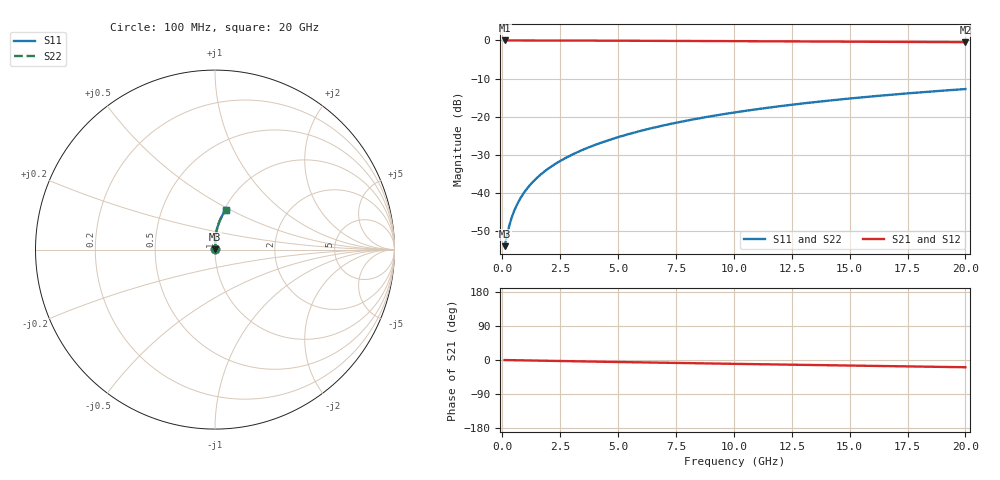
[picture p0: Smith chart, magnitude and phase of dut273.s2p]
! Touchstone file exported from HFSS 2024.1.0
!  File:  C:/UserFiles/LocalFiles/RDL_TSV_Batchsim/temp_RDL_top_273_1778689721.aedt
!  Generated:  12:31:01 AM May 14, 2026
!  Design:  RDL_top
!  Project:  temp_RDL_top_273_1778689721
!  Setup:  Setup1
!  Solution:  Sweep
! Variables:
!  dtsv = 10.80580581um
!  hbump = 3um
!  htsv = 71.61um
!  ldown = 100um
!  lrdl = 201.69um
!  p = 40
!  p1 = 59.57um
!  rhole = 1um
!  t = 450um
!  tdown = 3.915915916um
!  trdl = 2.4um
!  wdown = 15.38538539um
!  wrdl = 22.34um
# GHz S MA R 50.000000
! Terminal data exported
! Port[1] = Box2_T1
! Port[2] = Box2_T2
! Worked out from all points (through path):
!   200 points, 100 MHz to 20 GHz, reference 50 ohm
!   highest |S21| = -0.01 dB at 100 MHz (marker M1); lowest = -0.5 dB at 20 GHz (marker M2)
!   group delay of S21, straight-line fit = 2.63 ps
!   lowest |S11| = -53.9 dB at 100 MHz (marker M3), VSWR 1.00, Z = 50.2 + j0.111 ohm
!   |S11| at or under -10 dB: start of sweep to end of sweep
!   |S22| runs from -53.9 to -12.8 dB; largest |S21 - S12| = 4.4e-15
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0.1  0.002009 33.5  0.9983 -0.1  0.9983 -0.1  0.002009 33.5
! Gamma 0 0 0 0
! Port Impedance 50 0 50 0
0.2  0.002793 52.2  0.9983 -0.2  0.9983 -0.2  0.002793 52.2
0.3  0.003726 61.8  0.9982 -0.3  0.9982 -0.3  0.003726 61.8
0.4  0.004705 67.4  0.9981 -0.4  0.9981 -0.4  0.004705 67.4
0.5  0.005697 71.0  0.9981 -0.6  0.9981 -0.6  0.005697 71.0
0.6  0.006695 73.6  0.998 -0.7  0.998 -0.7  0.006695 73.6
0.8  0.008699 77.1  0.9978 -0.9  0.9978 -0.9  0.008699 77.1
1.1  0.01173 80.3  0.9976 -1.2  0.9976 -1.2  0.01173 80.3
1.5  0.01582 82.8  0.9972 -1.6  0.9972 -1.6  0.01582 82.8
1.8  0.01893 84.1  0.9968 -2.0  0.9968 -2.0  0.01893 84.1
2.1  0.02207 85.0  0.9965 -2.3  0.9965 -2.3  0.02207 84.9
2.7  0.02843 86.2  0.9956 -2.9  0.9956 -2.9  0.02843 86.2
3.5  0.0371 87.0  0.9942 -3.8  0.9942 -3.8  0.0371 87.0
4.2  0.04486 87.4  0.9927 -4.5  0.9927 -4.5  0.04486 87.4
5  0.05392 87.5  0.9909 -5.3  0.9909 -5.3  0.05391 87.5
5.9  0.06432 87.4  0.9887 -6.2  0.9887 -6.2  0.06431 87.4
6.8  0.0749 87.0  0.9864 -7.1  0.9864 -7.1  0.0749 87.0
8.4  0.09402 86.0  0.9821 -8.6  0.9821 -8.6  0.09401 85.9
10.1  0.1145 84.5  0.9773 -10.2  0.9773 -10.2  0.1145 84.5
13.4  0.1542 81.4  0.9678 -13.3  0.9678 -13.3  0.1542 81.4
16.7  0.1929 78.1  0.9578 -16.2  0.9578 -16.2  0.1929 78.1
20  0.2304 74.8  0.9472 -19.1  0.9472 -19.1  0.2304 74.8
